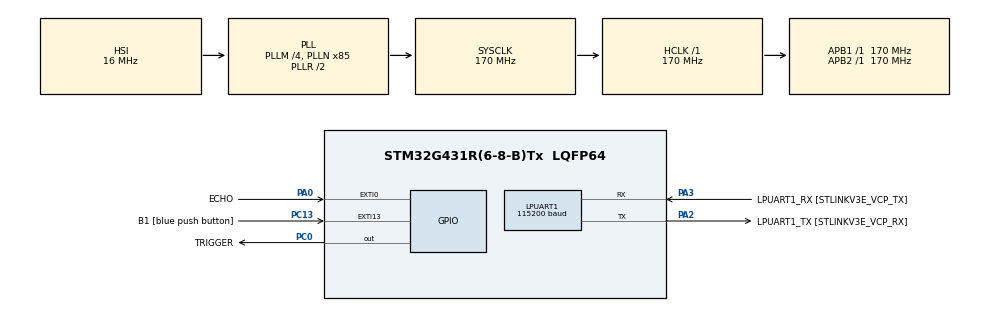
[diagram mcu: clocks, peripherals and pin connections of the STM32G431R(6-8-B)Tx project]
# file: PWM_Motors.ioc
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LPUART1.BaudRate=115200
LPUART1.WordLength=UART_WORDLENGTH_8B
Mcu.Family=STM32G4
Mcu.Name=STM32G431R(6-8-B)Tx
Mcu.Package=LQFP64
NVIC.EXTI0_IRQn=true\:0\:0\:false\:false\:true\:true\:true\:true
NVIC.PriorityGroup=NVIC_PRIORITYGROUP_4
PA0.GPIO_Label=ECHO
PA0.GPIO_ModeDefaultEXTI=GPIO_MODE_IT_RISING_FALLING
PA0.Signal=GPXTI0
PA13.GPIO_Label=T_SWDIO
PA13.Mode=Serial_Wire
PA13.Signal=SYS_JTMS-SWDIO
PA14.GPIO_Label=T_SWCLK
PA14.Mode=Serial_Wire
PA14.Signal=SYS_JTCK-SWCLK
PA2.GPIO_Label=LPUART1_TX [STLINKV3E_VCP_RX]
PA2.Mode=Asynchronous
PA2.Signal=LPUART1_TX
PA3.GPIO_Label=LPUART1_RX [STLINKV3E_VCP_TX]
PA3.Mode=Asynchronous
PA3.Signal=LPUART1_RX
PB3.GPIO_Label=T_SWO
PB3.Signal=SYS_JTDO-SWO
PC0.GPIO_Label=TRIGGER
PC0.Signal=GPIO_Output
PC13.GPIO_Label=B1 [blue push button]
PC13.Signal=GPXTI13
PC14-OSC32_IN.Mode=LSE-External-Oscillator
PC14-OSC32_IN.Signal=RCC_OSC32_IN
PC15-OSC32_OUT.Mode=LSE-External-Oscillator
PC15-OSC32_OUT.Signal=RCC_OSC32_OUT
PF0-OSC_IN.Mode=HSE-External-Oscillator
PF0-OSC_IN.Signal=RCC_OSC_IN
PF1-OSC_OUT.Mode=HSE-External-Oscillator
PF1-OSC_OUT.Signal=RCC_OSC_OUT
ProjectManager.HeapSize=0x200
ProjectManager.StackSize=0x400
ProjectManager.TargetToolchain=Makefile
RCC.ADC12Freq_Value=170000000
RCC.AHBFreq_Value=170000000
RCC.APB1Freq_Value=170000000
RCC.APB1TimFreq_Value=170000000
RCC.APB2Freq_Value=170000000
RCC.APB2TimFreq_Value=170000000
RCC.CortexFreq_Value=170000000
RCC.EXTERNAL_CLOCK_VALUE=12288000
RCC.HCLKFreq_Value=170000000
RCC.HSE_VALUE=24000000
RCC.HSI48_VALUE=48000000
RCC.HSI_VALUE=16000000
RCC.PLLM=RCC_PLLM_DIV4
RCC.PLLN=85
RCC.RTCClockSelection=RCC_RTCCLKSOURCE_LSE
RCC.SYSCLKFreq_VALUE=170000000
RCC.SYSCLKSource=RCC_SYSCLKSOURCE_PLLCLK
RCC.USBFreq_Value=170000000
RCC.VCOOutputFreq_Value=340000000
TIM2.PeriodNoDither=6462585 -1
VP_SYS_VS_DBSignals.Mode=DisableDeadBatterySignals
VP_TIM2_VS_ClockSourceINT.Mode=Internal
board=NUCLEO-G431RB

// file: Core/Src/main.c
/* USER CODE BEGIN Header */
/**
  ******************************************************************************
  * @file           : main.c
  * @brief          : Main program body
  ******************************************************************************
  * @attention
  *
  * Copyright (c) 2023 STMicroelectronics.
  * All rights reserved.
  *
  * This software is licensed under terms that can be found in the LICENSE file
  * in the root directory of this software component.
  * If no LICENSE file comes with this software, it is provided AS-IS.
  *
  ******************************************************************************
  */
/* USER CODE END Header */
#include "main.h"

/* USER CODE BEGIN Includes */
#include <stdio.h>
#include <string.h>
/* USER CODE END Includes */

/* USER CODE BEGIN PD */
// #define PWM
/* USER CODE END PD */

/* USER CODE BEGIN PM */
#define SPEED_OF_SOUND 0.0343 // cm/microseconds
#define MACHINE_CYCLE_LENGTH 0.00588 // 1/170 MHz = 5.88 ns = 0.00588 micros
#define TEN_MICROSECONDS 1700 - 1 // counter = desired_period / current_period
/* USER CODE END PM */

UART_HandleTypeDef hlpuart1;

TIM_HandleTypeDef htim2;

/* USER CODE BEGIN PV */
volatile uint8_t sensorFlag = 0;
volatile uint8_t distance = 0;
// used to calculate distance
volatile uint32_t tempRiseEdge = 0;
volatile uint32_t tempLowEdge = 0;
// to be able to print to terminal
char msg[10];
/* USER CODE END PV */

void SystemClock_Config(void);
static void MX_GPIO_Init(void);
static void MX_LPUART1_UART_Init(void);
static void MX_TIM2_Init(void);

/* USER CODE BEGIN 0 */
// char title[] = "Distance: ";
volatile uint8_t edgeFlag = 0;
/* USER CODE END 0 */

int main(void)
{

  /* MCU Configuration--------------------------------------------------------*/

  /* Reset of all peripherals, Initializes the Flash interface and the Systick. */
  HAL_Init();

  /* Configure the system clock */
  SystemClock_Config();

  /* Initialize all configured peripherals */
  MX_GPIO_Init();
  MX_LPUART1_UART_Init();
  MX_TIM2_Init();
  /* USER CODE BEGIN 2 */
  // for conditional compilation to drive one DC motor using L298N
  #ifdef PWM
  HAL_TIM_PWM_Start(&htim1, TIM_CHANNEL_2);

  // Directional Pins
  HAL_GPIO_WritePin(GPIOC, GPIO_PIN_6, GPIO_PIN_SET); // PC6
  HAL_GPIO_WritePin(GPIOC, GPIO_PIN_7, GPIO_PIN_RESET); // PC7
  HAL_GPIO_WritePin(GPIOC, GPIO_PIN_8, GPIO_PIN_SET); // PC8
  HAL_GPIO_WritePin(GPIOC, GPIO_PIN_9, GPIO_PIN_RESET); // PC9

  // Duty Cycle = duration of active state
  __HAL_TIM_SET_COMPARE(&htim1, TIM_CHANNEL_2, 65535/2); // 50% duty cycle
  #endif

  // Ensure that the pins are low in the begining
  HAL_GPIO_WritePin(TRIGGER_GPIO_Port, TRIGGER_Pin, RESET);
  HAL_GPIO_WritePin(ECHO_GPIO_Port, ECHO_Pin, RESET);

  /* USER CODE END 2 */

  /* Infinite loop */
  /* USER CODE BEGIN WHILE */
  while (1)
  {
    // restart the cycle
    sensorFlag = 0;
    distance = 0;

    // 10 microseconds delay using Timer 2
    HAL_TIM_Base_Start(&htim2);
    while(!(__HAL_TIM_GET_COUNTER(&htim2) == TEN_MICROSECONDS)){}
    HAL_TIM_Base_Stop(&htim2);
    __HAL_TIM_SET_COUNTER(&htim2, 0);

    // start of trigger pin
    HAL_GPIO_WritePin(TRIGGER_GPIO_Port, TRIGGER_Pin, SET);

    // 10 microseconds delay using Timer 2
    HAL_TIM_Base_Start(&htim2);
    while(!(__HAL_TIM_GET_COUNTER(&htim2) == TEN_MICROSECONDS)){}
    HAL_TIM_Base_Stop(&htim2);
    __HAL_TIM_SET_COUNTER(&htim2, 0);

    HAL_GPIO_WritePin(GPIOC, GPIO_PIN_0, RESET); // <---------------

    // Wait for ECHO pin to read
    while(!sensorFlag){};

    // format buffer to store the distance calculated
    sprintf(msg, "%dcm\r\n", distance);

    HAL_UART_Transmit(&hlpuart1, msg, strlen(msg), HAL_MAX_DELAY);
    /* USER CODE END WHILE */

  }
}

void SystemClock_Config(void)
{
  RCC_OscInitTypeDef RCC_OscInitStruct = {0};
  RCC_ClkInitTypeDef RCC_ClkInitStruct = {0};

  /** Configure the main internal regulator output voltage
  */
  HAL_PWREx_ControlVoltageScaling(PWR_REGULATOR_VOLTAGE_SCALE1_BOOST);

  /** Initializes the RCC Oscillators according to the specified parameters
  * in the RCC_OscInitTypeDef structure.
  */
  RCC_OscInitStruct.OscillatorType = RCC_OSCILLATORTYPE_HSI;
  RCC_OscInitStruct.HSIState = RCC_HSI_ON;
  RCC_OscInitStruct.HSICalibrationValue = RCC_HSICALIBRATION_DEFAULT;
  RCC_OscInitStruct.PLL.PLLState = RCC_PLL_ON;
  RCC_OscInitStruct.PLL.PLLSource = RCC_PLLSOURCE_HSI;
  RCC_OscInitStruct.PLL.PLLM = RCC_PLLM_DIV4;
  RCC_OscInitStruct.PLL.PLLN = 85;
  RCC_OscInitStruct.PLL.PLLP = RCC_PLLP_DIV2;
  RCC_OscInitStruct.PLL.PLLQ = RCC_PLLQ_DIV2;
  RCC_OscInitStruct.PLL.PLLR = RCC_PLLR_DIV2;
  if (HAL_RCC_OscConfig(&RCC_OscInitStruct) != HAL_OK)
  {
    Error_Handler();
  }

  /** Initializes the CPU, AHB and APB buses clocks
  */
  RCC_ClkInitStruct.ClockType = RCC_CLOCKTYPE_HCLK|RCC_CLOCKTYPE_SYSCLK
                              |RCC_CLOCKTYPE_PCLK1|RCC_CLOCKTYPE_PCLK2;
  RCC_ClkInitStruct.SYSCLKSource = RCC_SYSCLKSOURCE_PLLCLK;
  RCC_ClkInitStruct.AHBCLKDivider = RCC_SYSCLK_DIV1;
  RCC_ClkInitStruct.APB1CLKDivider = RCC_HCLK_DIV1;
  RCC_ClkInitStruct.APB2CLKDivider = RCC_HCLK_DIV1;

  if (HAL_RCC_ClockConfig(&RCC_ClkInitStruct, FLASH_LATENCY_4) != HAL_OK)
  {
    Error_Handler();
  }
}

static void MX_LPUART1_UART_Init(void)
{

  hlpuart1.Instance = LPUART1;
  hlpuart1.Init.BaudRate = 115200;
  hlpuart1.Init.WordLength = UART_WORDLENGTH_8B;
  hlpuart1.Init.StopBits = UART_STOPBITS_1;
  hlpuart1.Init.Parity = UART_PARITY_NONE;
  hlpuart1.Init.Mode = UART_MODE_TX_RX;
  hlpuart1.Init.HwFlowCtl = UART_HWCONTROL_NONE;
  hlpuart1.Init.OneBitSampling = UART_ONE_BIT_SAMPLE_DISABLE;
  hlpuart1.Init.ClockPrescaler = UART_PRESCALER_DIV1;
  hlpuart1.AdvancedInit.AdvFeatureInit = UART_ADVFEATURE_NO_INIT;
  if (HAL_UART_Init(&hlpuart1) != HAL_OK)
  {
    Error_Handler();
  }
  if (HAL_UARTEx_SetTxFifoThreshold(&hlpuart1, UART_TXFIFO_THRESHOLD_1_8) != HAL_OK)
  {
    Error_Handler();
  }
  if (HAL_UARTEx_SetRxFifoThreshold(&hlpuart1, UART_RXFIFO_THRESHOLD_1_8) != HAL_OK)
  {
    Error_Handler();
  }
  if (HAL_UARTEx_DisableFifoMode(&hlpuart1) != HAL_OK)
  {
    Error_Handler();
  }

}

static void MX_TIM2_Init(void)
{

  TIM_ClockConfigTypeDef sClockSourceConfig = {0};
  TIM_MasterConfigTypeDef sMasterConfig = {0};

  htim2.Instance = TIM2;
  htim2.Init.Prescaler = 0;
  htim2.Init.CounterMode = TIM_COUNTERMODE_UP;
  htim2.Init.Period = 6462584;
  htim2.Init.ClockDivision = TIM_CLOCKDIVISION_DIV1;
  htim2.Init.AutoReloadPreload = TIM_AUTORELOAD_PRELOAD_DISABLE;
  if (HAL_TIM_Base_Init(&htim2) != HAL_OK)
  {
    Error_Handler();
  }
  sClockSourceConfig.ClockSource = TIM_CLOCKSOURCE_INTERNAL;
  if (HAL_TIM_ConfigClockSource(&htim2, &sClockSourceConfig) != HAL_OK)
  {
    Error_Handler();
  }
  sMasterConfig.MasterOutputTrigger = TIM_TRGO_RESET;
  sMasterConfig.MasterSlaveMode = TIM_MASTERSLAVEMODE_DISABLE;
  if (HAL_TIMEx_MasterConfigSynchronization(&htim2, &sMasterConfig) != HAL_OK)
  {
    Error_Handler();
  }

}

static void MX_GPIO_Init(void)
{
  GPIO_InitTypeDef GPIO_InitStruct = {0};

  /* GPIO Ports Clock Enable */
  __HAL_RCC_GPIOC_CLK_ENABLE();
  __HAL_RCC_GPIOF_CLK_ENABLE();
  __HAL_RCC_GPIOA_CLK_ENABLE();
  __HAL_RCC_GPIOB_CLK_ENABLE();

  /*Configure GPIO pin Output Level */
  HAL_GPIO_WritePin(TRIGGER_GPIO_Port, TRIGGER_Pin, GPIO_PIN_RESET);

  /*Configure GPIO pin : B1_Pin */
  GPIO_InitStruct.Pin = B1_Pin;
  GPIO_InitStruct.Mode = GPIO_MODE_IT_RISING;
  GPIO_InitStruct.Pull = GPIO_NOPULL;
  HAL_GPIO_Init(B1_GPIO_Port, &GPIO_InitStruct);

  /*Configure GPIO pin : TRIGGER_Pin */
  GPIO_InitStruct.Pin = TRIGGER_Pin;
  GPIO_InitStruct.Mode = GPIO_MODE_OUTPUT_PP;
  GPIO_InitStruct.Pull = GPIO_NOPULL;
  GPIO_InitStruct.Speed = GPIO_SPEED_FREQ_LOW;
  HAL_GPIO_Init(TRIGGER_GPIO_Port, &GPIO_InitStruct);

  /*Configure GPIO pin : ECHO_Pin */
  GPIO_InitStruct.Pin = ECHO_Pin;
  GPIO_InitStruct.Mode = GPIO_MODE_IT_RISING_FALLING;
  GPIO_InitStruct.Pull = GPIO_NOPULL;
  HAL_GPIO_Init(ECHO_GPIO_Port, &GPIO_InitStruct);

  /* EXTI interrupt init*/
  HAL_NVIC_SetPriority(EXTI0_IRQn, 0, 0);
  HAL_NVIC_EnableIRQ(EXTI0_IRQn);

}

/* USER CODE BEGIN 4 */
void HAL_GPIO_EXTI_Callback(uint16_t GPIO_Pin)
{
  // Signal Sent
  if(HAL_GPIO_ReadPin(ECHO_GPIO_Port, ECHO_Pin) && edgeFlag == 0)
  {
    HAL_TIM_Base_Start(&htim2);
    tempRiseEdge = __HAL_TIM_GET_COUNTER(&htim2);
    edgeFlag = 1;
  }

  // Signal received
  else if(!HAL_GPIO_ReadPin(ECHO_GPIO_Port, ECHO_Pin) && edgeFlag == 1)
  {
    tempLowEdge = __HAL_TIM_GET_COUNTER(&htim2);
    HAL_TIM_Base_Stop(&htim2);
    __HAL_TIM_SET_COUNTER(&htim2, 0);
    HAL_TIM_Base_Start(&htim2);

    distance = (tempLowEdge - tempRiseEdge) * MACHINE_CYCLE_LENGTH * SPEED_OF_SOUND / 2;
    edgeFlag = 0;
    sensorFlag = 1;
  }
}
/* USER CODE END 4 */

void Error_Handler(void)
{
  __disable_irq();
  while (1)
  {
  }
}
